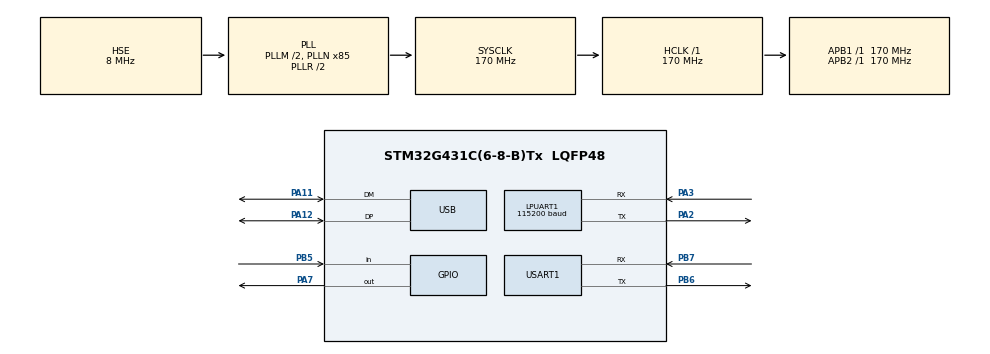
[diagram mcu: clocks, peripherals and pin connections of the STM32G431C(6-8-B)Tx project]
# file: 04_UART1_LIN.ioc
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LPUART1.BaudRate=115200
Mcu.Family=STM32G4
Mcu.Name=STM32G431C(6-8-B)Tx
Mcu.Package=LQFP48
NVIC.LPUART1_IRQn=true\:0\:0\:false\:false\:true\:true\:true\:true
NVIC.PriorityGroup=NVIC_PRIORITYGROUP_4
NVIC.TIM1_UP_TIM16_IRQn=true\:15\:0\:false\:false\:true\:false\:true\:true
NVIC.TimeBase=TIM1_UP_TIM16_IRQn
NVIC.TimeBaseIP=TIM1
NVIC.USART1_IRQn=true\:0\:0\:false\:false\:true\:true\:true\:true
NVIC.USB_LP_IRQn=true\:0\:0\:false\:false\:true\:true\:true\:true
PA11.Mode=Device
PA11.Signal=USB_DM
PA12.Mode=Device
PA12.Signal=USB_DP
PA13.Mode=Serial_Wire
PA13.Signal=SYS_JTMS-SWDIO
PA14.Mode=Serial_Wire
PA14.Signal=SYS_JTCK-SWCLK
PA2.Mode=Asynchronous
PA2.Signal=LPUART1_TX
PA3.Mode=Asynchronous
PA3.Signal=LPUART1_RX
PA7.Signal=GPIO_Output
PB5.Signal=GPIO_Input
PB6.Mode=LIN
PB6.Signal=USART1_TX
PB7.GPIO_PuPd=GPIO_PULLUP
PB7.Mode=LIN
PB7.Signal=USART1_RX
PF0-OSC_IN.Mode=HSE-External-Oscillator
PF0-OSC_IN.Signal=RCC_OSC_IN
PF1-OSC_OUT.Mode=HSE-External-Oscillator
PF1-OSC_OUT.Signal=RCC_OSC_OUT
ProjectManager.HeapSize=0x200
ProjectManager.StackSize=0x400
ProjectManager.TargetToolchain=STM32CubeIDE
RCC.ADC12Freq_Value=170000000
RCC.AHBFreq_Value=170000000
RCC.APB1Freq_Value=170000000
RCC.APB1TimFreq_Value=170000000
RCC.APB2Freq_Value=170000000
RCC.APB2TimFreq_Value=170000000
RCC.CK48CLockSelection=RCC_USBCLKSOURCE_HSI48
RCC.CortexFreq_Value=170000000
RCC.EXTERNAL_CLOCK_VALUE=12288000
RCC.HCLKFreq_Value=170000000
RCC.HSE_VALUE=8000000
RCC.HSI48_VALUE=48000000
RCC.HSI_VALUE=16000000
RCC.LSE_VALUE=32768
RCC.PLLM=RCC_PLLM_DIV2
RCC.PLLN=85
RCC.PLLSourceVirtual=RCC_PLLSOURCE_HSE
RCC.SYSCLKFreq_VALUE=170000000
RCC.SYSCLKSource=RCC_SYSCLKSOURCE_PLLCLK
RCC.USBFreq_Value=48000000
RCC.VCOOutputFreq_Value=340000000
USART1.BreakDetectLength=UART_LINBREAKDETECTLENGTH_11B
USART1.VirtualMode-LIN=VM_LIN
USB_DEVICE.CLASS_NAME_FS=CDC
USB_DEVICE.VirtualMode=Cdc
USB_DEVICE.VirtualModeFS=Cdc_FS
VP_SYS_VS_DBSignals.Mode=DisableDeadBatterySignals
VP_SYS_VS_tim1.Mode=TIM1
VP_USB_DEVICE_VS_USB_DEVICE_CDC_FS.Mode=CDC_FS
board=custom

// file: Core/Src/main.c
/* USER CODE BEGIN Header */
/**
  ******************************************************************************
  * @file           : main.c
  * @brief          : Main program body
  ******************************************************************************
  * @attention
  *
  * Copyright (c) 2024 STMicroelectronics.
  * All rights reserved.
  *
  * This software is licensed under terms that can be found in the LICENSE file
  * in the root directory of this software component.
  * If no LICENSE file comes with this software, it is provided AS-IS.
  *
  ******************************************************************************
  */
/* USER CODE END Header */
#include "main.h"
#include "usart.h"
#include "usb_device.h"
#include "gpio.h"

/* USER CODE BEGIN Includes */
#include <stdio.h>
#include "slcan.h"
#include "lin_slcan.h"
/* USER CODE END Includes */

void SystemClock_Config(void);

/* USER CODE BEGIN 0 */
const uint32_t *uid = (uint32_t *)(UID_BASE);
uint32_t serialNumber = 0;
uint32_t lin_baund_rate = 19200;
uint8_t LpUart1RxFifo;
extern void bootloaderSwitcher();

extern UART_HandleTypeDef hlpuart1;
int __io_putchar(int ch)
{
  HAL_UART_Transmit(&hlpuart1, (uint8_t*)&ch, 1, 1000);
    return ch;
}
/* USER CODE END 0 */

int main(void)
{
  /* USER CODE BEGIN 1 */
  serialNumber = uid[0] ^ uid[1] ^ uid[2];
  bootloaderSwitcher();

  /* USER CODE END 1 */

  /* MCU Configuration--------------------------------------------------------*/

  /* Reset of all peripherals, Initializes the Flash interface and the Systick. */
  HAL_Init();

  /* Configure the system clock */
  SystemClock_Config();

  /* Initialize all configured peripherals */
  MX_GPIO_Init();
  MX_USART1_UART_Init();
  MX_LPUART1_UART_Init();
  MX_USB_Device_Init();
  /* USER CODE BEGIN 2 */
  HAL_UART_Receive_IT(&huart1, &LpUart1RxFifo, 1);
  printf("hello\n");
  // LIN_EN
  HAL_GPIO_WritePin(GPIOA, GPIO_PIN_7, GPIO_PIN_SET);
  /* USER CODE END 2 */

  /* Infinite loop */
  /* USER CODE BEGIN WHILE */
  while (1)
  {
    slCanCheckCommand();

    /* USER CODE END WHILE */

  }
}

void SystemClock_Config(void)
{
  RCC_OscInitTypeDef RCC_OscInitStruct = {0};
  RCC_ClkInitTypeDef RCC_ClkInitStruct = {0};

  /** Configure the main internal regulator output voltage
  */
  HAL_PWREx_ControlVoltageScaling(PWR_REGULATOR_VOLTAGE_SCALE1_BOOST);

  /** Initializes the RCC Oscillators according to the specified parameters
  * in the RCC_OscInitTypeDef structure.
  */
  RCC_OscInitStruct.OscillatorType = RCC_OSCILLATORTYPE_HSI48|RCC_OSCILLATORTYPE_HSE;
  RCC_OscInitStruct.HSEState = RCC_HSE_ON;
  RCC_OscInitStruct.HSI48State = RCC_HSI48_ON;
  RCC_OscInitStruct.PLL.PLLState = RCC_PLL_ON;
  RCC_OscInitStruct.PLL.PLLSource = RCC_PLLSOURCE_HSE;
  RCC_OscInitStruct.PLL.PLLM = RCC_PLLM_DIV2;
  RCC_OscInitStruct.PLL.PLLN = 85;
  RCC_OscInitStruct.PLL.PLLP = RCC_PLLP_DIV2;
  RCC_OscInitStruct.PLL.PLLQ = RCC_PLLQ_DIV2;
  RCC_OscInitStruct.PLL.PLLR = RCC_PLLR_DIV2;
  if (HAL_RCC_OscConfig(&RCC_OscInitStruct) != HAL_OK)
  {
    Error_Handler();
  }

  /** Initializes the CPU, AHB and APB buses clocks
  */
  RCC_ClkInitStruct.ClockType = RCC_CLOCKTYPE_HCLK|RCC_CLOCKTYPE_SYSCLK
                              |RCC_CLOCKTYPE_PCLK1|RCC_CLOCKTYPE_PCLK2;
  RCC_ClkInitStruct.SYSCLKSource = RCC_SYSCLKSOURCE_PLLCLK;
  RCC_ClkInitStruct.AHBCLKDivider = RCC_SYSCLK_DIV1;
  RCC_ClkInitStruct.APB1CLKDivider = RCC_HCLK_DIV1;
  RCC_ClkInitStruct.APB2CLKDivider = RCC_HCLK_DIV1;

  if (HAL_RCC_ClockConfig(&RCC_ClkInitStruct, FLASH_LATENCY_4) != HAL_OK)
  {
    Error_Handler();
  }
}

/* USER CODE BEGIN 4 */
void HAL_UART_RxCpltCallback(UART_HandleTypeDef *huart){
  extern LinType_t lin_type;
  uint8_t rbyte = LpUart1RxFifo;
  if (slcan_state == SLCAN_STATE_OPEN)
  {
    switch (lin_type)
    {
    case LIN_MASTER:
      open_lin_master_dl_rx(rbyte);
      break;
    case LIN_SLAVE:
      open_lin_slave_rx_header(rbyte);
    default: /* Monitor */
      lin_slcan_rx(rbyte);
      break;
    }
  }
  HAL_UART_Receive_IT(huart, &LpUart1RxFifo, 1);
}

void HAL_UART_ErrorCallback(UART_HandleTypeDef *huart)
{

}
/* USER CODE END 4 */

void HAL_TIM_PeriodElapsedCallback(TIM_HandleTypeDef *htim)
{
  if (htim->Instance == TIM1) {
    HAL_IncTick();
  }
}

void Error_Handler(void)
{
  __disable_irq();
  while (1)
  {
  }
}
